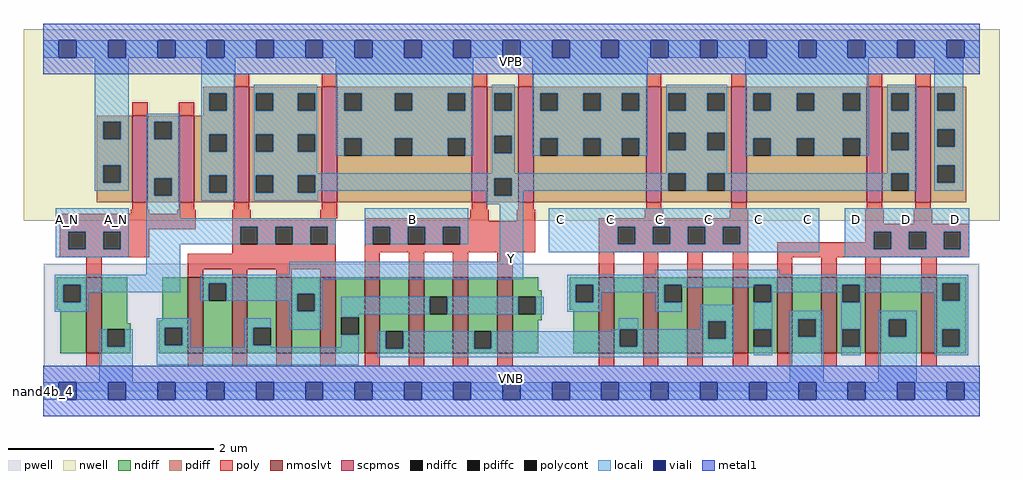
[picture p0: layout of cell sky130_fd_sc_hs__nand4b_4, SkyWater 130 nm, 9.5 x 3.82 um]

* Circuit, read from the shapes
.subckt sky130_fd_sc_hs__nand4b_4 A_N B C D VGND VNB VPB VPWR Y
XM1 VGND A_N n1 VNB sky130_fd_pr__nfet_01v8_lvt w=0.74 l=0.15
XM2 Y n1 n2 VNB sky130_fd_pr__nfet_01v8_lvt w=0.74 l=0.15 m=4
XM3 n3 B n2 VNB sky130_fd_pr__nfet_01v8_lvt w=0.74 l=0.15 m=4
XM4 n3 C n4 VNB sky130_fd_pr__nfet_01v8_lvt w=0.74 l=0.15 m=4
XM5 VGND D n4 VNB sky130_fd_pr__nfet_01v8_lvt w=0.74 l=0.15 m=4
XM6 n1 A_N VPWR VPB sky130_fd_pr__pfet_01v8 w=0.84 l=0.15 m=2
XM7 Y n1 VPWR VPB sky130_fd_pr__pfet_01v8 w=1.12 l=0.15 m=2
XM8 Y B VPWR VPB sky130_fd_pr__pfet_01v8 w=1.12 l=0.15 m=2
XM9 Y C VPWR VPB sky130_fd_pr__pfet_01v8 w=1.12 l=0.15 m=2
XM10 Y D VPWR VPB sky130_fd_pr__pfet_01v8 w=1.12 l=0.15 m=2
.ends

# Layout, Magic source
magic
tech sky130A
magscale 1 2
<< nwell >>
rect -38 332 1862 704
<< pwell >>
rect 1 49 1823 248
rect 0 0 1824 49
<< scpmos >>
rect 174 368 204 536
rect 264 368 294 536
rect 371 368 401 592
rect 543 368 573 592
rect 835 368 865 592
rect 925 368 955 592
rect 1174 368 1204 592
rect 1340 368 1370 592
rect 1604 368 1634 592
rect 1698 368 1728 592
<< nmoslvt >>
rect 84 74 114 222
rect 282 74 312 222
rect 368 74 398 222
rect 454 74 484 222
rect 540 74 570 222
rect 626 74 656 222
rect 712 74 742 222
rect 798 74 828 222
rect 884 74 914 222
rect 1082 74 1112 222
rect 1168 74 1198 222
rect 1254 74 1284 222
rect 1343 74 1373 222
rect 1429 74 1459 222
rect 1515 74 1545 222
rect 1601 74 1631 222
rect 1710 74 1740 222
<< ndiff >>
rect 27 207 84 222
rect 27 173 39 207
rect 73 173 84 207
rect 27 158 84 173
rect 34 74 84 158
rect 114 132 164 222
rect 232 138 282 222
rect 114 120 171 132
rect 114 86 125 120
rect 159 86 171 120
rect 114 74 171 86
rect 225 123 282 138
rect 225 89 237 123
rect 271 89 282 123
rect 225 74 282 89
rect 312 210 368 222
rect 312 176 323 210
rect 357 176 368 210
rect 312 74 368 176
rect 398 123 454 222
rect 398 89 409 123
rect 443 89 454 123
rect 398 74 454 89
rect 484 189 540 222
rect 484 155 495 189
rect 529 155 540 189
rect 484 74 540 155
rect 570 144 626 222
rect 570 110 581 144
rect 615 110 626 144
rect 570 74 626 110
rect 656 116 712 222
rect 656 82 667 116
rect 701 82 712 116
rect 656 74 712 82
rect 742 184 798 222
rect 742 150 753 184
rect 787 150 798 184
rect 742 74 798 150
rect 828 116 884 222
rect 828 82 839 116
rect 873 82 884 116
rect 828 74 884 82
rect 914 196 964 222
rect 1025 207 1082 222
rect 914 184 971 196
rect 914 150 925 184
rect 959 150 971 184
rect 1025 173 1037 207
rect 1071 173 1082 207
rect 1025 158 1082 173
rect 914 138 971 150
rect 914 74 964 138
rect 1032 74 1082 158
rect 1112 120 1168 222
rect 1112 86 1123 120
rect 1157 86 1168 120
rect 1112 74 1168 86
rect 1198 207 1254 222
rect 1198 173 1209 207
rect 1243 173 1254 207
rect 1198 74 1254 173
rect 1284 136 1343 222
rect 1284 102 1295 136
rect 1329 102 1343 136
rect 1284 74 1343 102
rect 1373 207 1429 222
rect 1373 173 1384 207
rect 1418 173 1429 207
rect 1373 120 1429 173
rect 1373 86 1384 120
rect 1418 86 1429 120
rect 1373 74 1429 86
rect 1459 140 1515 222
rect 1459 106 1470 140
rect 1504 106 1515 140
rect 1459 74 1515 106
rect 1545 207 1601 222
rect 1545 173 1556 207
rect 1590 173 1601 207
rect 1545 120 1601 173
rect 1545 86 1556 120
rect 1590 86 1601 120
rect 1545 74 1601 86
rect 1631 140 1710 222
rect 1631 106 1646 140
rect 1680 106 1710 140
rect 1631 74 1710 106
rect 1740 210 1797 222
rect 1740 176 1751 210
rect 1785 176 1797 210
rect 1740 120 1797 176
rect 1740 86 1751 120
rect 1785 86 1797 120
rect 1740 74 1797 86
<< pdiff >>
rect 312 580 371 592
rect 312 546 324 580
rect 358 546 371 580
rect 312 536 371 546
rect 105 524 174 536
rect 105 490 117 524
rect 151 490 174 524
rect 105 440 174 490
rect 105 406 117 440
rect 151 406 174 440
rect 105 368 174 406
rect 204 524 264 536
rect 204 490 217 524
rect 251 490 264 524
rect 204 414 264 490
rect 204 380 217 414
rect 251 380 264 414
rect 204 368 264 380
rect 294 500 371 536
rect 294 466 324 500
rect 358 466 371 500
rect 294 420 371 466
rect 294 386 324 420
rect 358 386 371 420
rect 294 368 371 386
rect 401 580 543 592
rect 401 546 414 580
rect 448 546 496 580
rect 530 546 543 580
rect 401 500 543 546
rect 401 466 414 500
rect 448 466 496 500
rect 530 466 543 500
rect 401 420 543 466
rect 401 386 414 420
rect 448 386 496 420
rect 530 386 543 420
rect 401 368 543 386
rect 573 580 835 592
rect 573 546 586 580
rect 620 546 685 580
rect 719 546 788 580
rect 822 546 835 580
rect 573 492 835 546
rect 573 458 586 492
rect 620 458 685 492
rect 719 458 788 492
rect 822 458 835 492
rect 573 368 835 458
rect 865 580 925 592
rect 865 546 878 580
rect 912 546 925 580
rect 865 497 925 546
rect 865 463 878 497
rect 912 463 925 497
rect 865 414 925 463
rect 865 380 878 414
rect 912 380 925 414
rect 865 368 925 380
rect 955 580 1174 592
rect 955 546 968 580
rect 1002 546 1052 580
rect 1086 546 1127 580
rect 1161 546 1174 580
rect 955 492 1174 546
rect 955 458 968 492
rect 1002 458 1052 492
rect 1086 458 1127 492
rect 1161 458 1174 492
rect 955 368 1174 458
rect 1204 580 1340 592
rect 1204 546 1217 580
rect 1251 546 1293 580
rect 1327 546 1340 580
rect 1204 503 1340 546
rect 1204 469 1217 503
rect 1251 469 1293 503
rect 1327 469 1340 503
rect 1204 424 1340 469
rect 1204 390 1217 424
rect 1251 390 1293 424
rect 1327 390 1340 424
rect 1204 368 1340 390
rect 1370 580 1604 592
rect 1370 546 1383 580
rect 1417 546 1467 580
rect 1501 546 1557 580
rect 1591 546 1604 580
rect 1370 492 1604 546
rect 1370 458 1383 492
rect 1417 458 1467 492
rect 1501 458 1557 492
rect 1591 458 1604 492
rect 1370 368 1604 458
rect 1634 580 1698 592
rect 1634 546 1651 580
rect 1685 546 1698 580
rect 1634 503 1698 546
rect 1634 469 1651 503
rect 1685 469 1698 503
rect 1634 424 1698 469
rect 1634 390 1651 424
rect 1685 390 1698 424
rect 1634 368 1698 390
rect 1728 580 1797 592
rect 1728 546 1741 580
rect 1775 546 1797 580
rect 1728 510 1797 546
rect 1728 476 1741 510
rect 1775 476 1797 510
rect 1728 440 1797 476
rect 1728 406 1741 440
rect 1775 406 1797 440
rect 1728 368 1797 406
<< ndiffc >>
rect 39 173 73 207
rect 125 86 159 120
rect 237 89 271 123
rect 323 176 357 210
rect 409 89 443 123
rect 495 155 529 189
rect 581 110 615 144
rect 667 82 701 116
rect 753 150 787 184
rect 839 82 873 116
rect 925 150 959 184
rect 1037 173 1071 207
rect 1123 86 1157 120
rect 1209 173 1243 207
rect 1295 102 1329 136
rect 1384 173 1418 207
rect 1384 86 1418 120
rect 1470 106 1504 140
rect 1556 173 1590 207
rect 1556 86 1590 120
rect 1646 106 1680 140
rect 1751 176 1785 210
rect 1751 86 1785 120
<< pdiffc >>
rect 324 546 358 580
rect 117 490 151 524
rect 117 406 151 440
rect 217 490 251 524
rect 217 380 251 414
rect 324 466 358 500
rect 324 386 358 420
rect 414 546 448 580
rect 496 546 530 580
rect 414 466 448 500
rect 496 466 530 500
rect 414 386 448 420
rect 496 386 530 420
rect 586 546 620 580
rect 685 546 719 580
rect 788 546 822 580
rect 586 458 620 492
rect 685 458 719 492
rect 788 458 822 492
rect 878 546 912 580
rect 878 463 912 497
rect 878 380 912 414
rect 968 546 1002 580
rect 1052 546 1086 580
rect 1127 546 1161 580
rect 968 458 1002 492
rect 1052 458 1086 492
rect 1127 458 1161 492
rect 1217 546 1251 580
rect 1293 546 1327 580
rect 1217 469 1251 503
rect 1293 469 1327 503
rect 1217 390 1251 424
rect 1293 390 1327 424
rect 1383 546 1417 580
rect 1467 546 1501 580
rect 1557 546 1591 580
rect 1383 458 1417 492
rect 1467 458 1501 492
rect 1557 458 1591 492
rect 1651 546 1685 580
rect 1651 469 1685 503
rect 1651 390 1685 424
rect 1741 546 1775 580
rect 1741 476 1775 510
rect 1741 406 1775 440
<< poly >>
rect 371 592 401 618
rect 543 592 573 618
rect 835 592 865 618
rect 925 592 955 618
rect 1174 592 1204 618
rect 1340 592 1370 618
rect 1604 592 1634 618
rect 1698 592 1728 618
rect 174 536 204 562
rect 264 536 294 562
rect 174 353 204 368
rect 264 353 294 368
rect 371 353 401 368
rect 543 353 573 368
rect 835 353 865 368
rect 925 353 955 368
rect 1174 353 1204 368
rect 1340 353 1370 368
rect 1604 353 1634 368
rect 1698 353 1728 368
rect 171 345 207 353
rect 261 345 297 353
rect 33 315 297 345
rect 368 336 404 353
rect 540 336 573 353
rect 832 336 868 353
rect 368 320 570 336
rect 33 310 207 315
rect 33 276 49 310
rect 83 276 117 310
rect 151 276 207 310
rect 33 260 207 276
rect 368 286 384 320
rect 418 286 452 320
rect 486 286 520 320
rect 554 286 570 320
rect 368 267 570 286
rect 84 222 114 260
rect 282 237 570 267
rect 282 222 312 237
rect 368 222 398 237
rect 454 222 484 237
rect 540 222 570 237
rect 626 331 868 336
rect 922 331 958 353
rect 1171 336 1207 353
rect 1337 336 1373 353
rect 626 320 958 331
rect 626 286 642 320
rect 676 286 710 320
rect 744 286 778 320
rect 812 286 958 320
rect 626 270 958 286
rect 1082 320 1373 336
rect 1082 286 1119 320
rect 1153 286 1187 320
rect 1221 286 1255 320
rect 1289 286 1323 320
rect 1357 286 1373 320
rect 1601 326 1637 353
rect 1695 326 1731 353
rect 1601 310 1803 326
rect 1601 290 1617 310
rect 1082 270 1373 286
rect 626 222 656 270
rect 712 222 742 270
rect 798 222 828 270
rect 884 222 914 270
rect 1082 222 1112 270
rect 1168 222 1198 270
rect 1254 222 1284 270
rect 1343 222 1373 270
rect 1429 276 1617 290
rect 1651 276 1685 310
rect 1719 276 1753 310
rect 1787 276 1803 310
rect 1429 260 1803 276
rect 1429 222 1459 260
rect 1515 222 1545 260
rect 1601 222 1631 260
rect 1710 222 1740 260
rect 84 48 114 74
rect 282 48 312 74
rect 368 48 398 74
rect 454 48 484 74
rect 540 48 570 74
rect 626 48 656 74
rect 712 48 742 74
rect 798 48 828 74
rect 884 48 914 74
rect 1082 48 1112 74
rect 1168 48 1198 74
rect 1254 48 1284 74
rect 1343 48 1373 74
rect 1429 48 1459 74
rect 1515 48 1545 74
rect 1601 48 1631 74
rect 1710 48 1740 74
<< polycont >>
rect 49 276 83 310
rect 117 276 151 310
rect 384 286 418 320
rect 452 286 486 320
rect 520 286 554 320
rect 642 286 676 320
rect 710 286 744 320
rect 778 286 812 320
rect 1119 286 1153 320
rect 1187 286 1221 320
rect 1255 286 1289 320
rect 1323 286 1357 320
rect 1617 276 1651 310
rect 1685 276 1719 310
rect 1753 276 1787 310
<< locali >>
rect 0 649 31 683
rect 65 649 127 683
rect 161 649 223 683
rect 257 649 319 683
rect 353 649 415 683
rect 449 649 511 683
rect 545 649 607 683
rect 641 649 703 683
rect 737 649 799 683
rect 833 649 895 683
rect 929 649 991 683
rect 1025 649 1087 683
rect 1121 649 1183 683
rect 1217 649 1279 683
rect 1313 649 1375 683
rect 1409 649 1471 683
rect 1505 649 1567 683
rect 1601 649 1663 683
rect 1697 649 1759 683
rect 1793 649 1824 683
rect 101 524 167 649
rect 308 580 374 649
rect 308 546 324 580
rect 358 546 374 580
rect 101 490 117 524
rect 151 490 167 524
rect 101 440 167 490
rect 101 406 117 440
rect 151 406 167 440
rect 101 390 167 406
rect 201 524 267 540
rect 201 490 217 524
rect 251 490 267 524
rect 201 414 267 490
rect 201 380 217 414
rect 251 380 267 414
rect 25 310 167 356
rect 25 276 49 310
rect 83 276 117 310
rect 151 276 167 310
rect 25 260 167 276
rect 201 336 267 380
rect 308 500 374 546
rect 308 466 324 500
rect 358 466 374 500
rect 308 420 374 466
rect 308 386 324 420
rect 358 386 374 420
rect 308 370 374 386
rect 410 580 534 596
rect 410 546 414 580
rect 448 546 496 580
rect 530 546 534 580
rect 410 500 534 546
rect 410 466 414 500
rect 448 466 496 500
rect 530 466 534 500
rect 410 424 534 466
rect 570 580 838 649
rect 570 546 586 580
rect 620 546 685 580
rect 719 546 788 580
rect 822 546 838 580
rect 570 492 838 546
rect 570 458 586 492
rect 620 458 685 492
rect 719 458 788 492
rect 822 458 838 492
rect 874 580 918 596
rect 874 546 878 580
rect 912 546 918 580
rect 874 497 918 546
rect 874 463 878 497
rect 912 463 918 497
rect 874 424 918 463
rect 952 580 1177 649
rect 952 546 968 580
rect 1002 546 1052 580
rect 1086 546 1127 580
rect 1161 546 1177 580
rect 952 492 1177 546
rect 952 458 968 492
rect 1002 458 1052 492
rect 1086 458 1127 492
rect 1161 458 1177 492
rect 1213 580 1332 596
rect 1213 546 1217 580
rect 1251 546 1293 580
rect 1327 546 1332 580
rect 1213 503 1332 546
rect 1213 469 1217 503
rect 1251 469 1293 503
rect 1327 469 1332 503
rect 1213 424 1332 469
rect 1367 580 1607 649
rect 1367 546 1383 580
rect 1417 546 1467 580
rect 1501 546 1557 580
rect 1591 546 1607 580
rect 1367 492 1607 546
rect 1367 458 1383 492
rect 1417 458 1467 492
rect 1501 458 1557 492
rect 1591 458 1607 492
rect 1643 580 1701 596
rect 1643 546 1651 580
rect 1685 546 1701 580
rect 1643 503 1701 546
rect 1643 469 1651 503
rect 1685 469 1701 503
rect 1643 424 1701 469
rect 410 420 1217 424
rect 410 386 414 420
rect 448 386 496 420
rect 530 414 1217 420
rect 530 390 878 414
rect 530 386 536 390
rect 410 370 536 386
rect 862 380 878 390
rect 912 390 1217 414
rect 1251 390 1293 424
rect 1327 390 1651 424
rect 1685 390 1701 424
rect 1735 580 1791 649
rect 1735 546 1741 580
rect 1775 546 1791 580
rect 1735 510 1791 546
rect 1735 476 1741 510
rect 1775 476 1791 510
rect 1735 440 1791 476
rect 1735 406 1741 440
rect 1775 406 1791 440
rect 1735 390 1791 406
rect 912 380 935 390
rect 862 364 935 380
rect 201 320 570 336
rect 201 286 384 320
rect 418 286 452 320
rect 486 286 520 320
rect 554 286 570 320
rect 626 320 828 356
rect 626 286 642 320
rect 676 286 710 320
rect 744 286 778 320
rect 812 286 828 320
rect 201 226 267 286
rect 889 252 935 364
rect 985 320 1511 356
rect 985 286 1119 320
rect 1153 286 1187 320
rect 1221 286 1255 320
rect 1289 286 1323 320
rect 1357 286 1511 320
rect 985 270 1511 286
rect 1561 310 1803 356
rect 1561 276 1617 310
rect 1651 276 1685 310
rect 1719 276 1753 310
rect 1787 276 1803 310
rect 1561 260 1803 276
rect 479 226 935 252
rect 1193 226 1434 236
rect 23 207 267 226
rect 23 173 39 207
rect 73 192 267 207
rect 307 218 935 226
rect 307 210 545 218
rect 73 173 89 192
rect 307 176 323 210
rect 357 189 545 210
rect 357 176 495 189
rect 23 154 89 173
rect 479 155 495 176
rect 529 155 545 189
rect 1021 210 1801 226
rect 1021 207 1751 210
rect 221 123 287 142
rect 109 86 125 120
rect 159 86 175 120
rect 109 17 175 86
rect 221 89 237 123
rect 271 89 287 123
rect 221 85 287 89
rect 393 123 443 142
rect 393 89 409 123
rect 479 119 545 155
rect 581 150 753 184
rect 787 150 925 184
rect 959 150 975 184
rect 1021 173 1037 207
rect 1071 192 1209 207
rect 1071 173 1087 192
rect 1021 154 1087 173
rect 1193 173 1209 192
rect 1243 202 1384 207
rect 1193 154 1243 173
rect 1418 192 1556 207
rect 1418 173 1420 192
rect 581 144 615 150
rect 393 85 443 89
rect 1121 120 1159 142
rect 1279 136 1345 168
rect 1279 120 1295 136
rect 1107 116 1123 120
rect 581 85 615 110
rect 221 51 615 85
rect 651 82 667 116
rect 701 82 839 116
rect 873 86 1123 116
rect 1157 102 1295 120
rect 1329 102 1345 136
rect 1157 86 1345 102
rect 873 82 1345 86
rect 651 66 1345 82
rect 1384 120 1420 173
rect 1554 173 1556 192
rect 1590 192 1751 207
rect 1590 173 1592 192
rect 1418 86 1420 120
rect 1384 70 1420 86
rect 1454 140 1520 156
rect 1454 106 1470 140
rect 1504 106 1520 140
rect 1454 17 1520 106
rect 1554 120 1592 173
rect 1735 176 1751 192
rect 1785 176 1801 210
rect 1554 86 1556 120
rect 1590 86 1592 120
rect 1554 70 1592 86
rect 1626 140 1701 156
rect 1626 106 1646 140
rect 1680 106 1701 140
rect 1626 17 1701 106
rect 1735 120 1801 176
rect 1735 86 1751 120
rect 1785 86 1801 120
rect 1735 70 1801 86
rect 0 -17 31 17
rect 65 -17 127 17
rect 161 -17 223 17
rect 257 -17 319 17
rect 353 -17 415 17
rect 449 -17 511 17
rect 545 -17 607 17
rect 641 -17 703 17
rect 737 -17 799 17
rect 833 -17 895 17
rect 929 -17 991 17
rect 1025 -17 1087 17
rect 1121 -17 1183 17
rect 1217 -17 1279 17
rect 1313 -17 1375 17
rect 1409 -17 1471 17
rect 1505 -17 1567 17
rect 1601 -17 1663 17
rect 1697 -17 1759 17
rect 1793 -17 1824 17
<< viali >>
rect 31 649 65 683
rect 127 649 161 683
rect 223 649 257 683
rect 319 649 353 683
rect 415 649 449 683
rect 511 649 545 683
rect 607 649 641 683
rect 703 649 737 683
rect 799 649 833 683
rect 895 649 929 683
rect 991 649 1025 683
rect 1087 649 1121 683
rect 1183 649 1217 683
rect 1279 649 1313 683
rect 1375 649 1409 683
rect 1471 649 1505 683
rect 1567 649 1601 683
rect 1663 649 1697 683
rect 1759 649 1793 683
rect 31 -17 65 17
rect 127 -17 161 17
rect 223 -17 257 17
rect 319 -17 353 17
rect 415 -17 449 17
rect 511 -17 545 17
rect 607 -17 641 17
rect 703 -17 737 17
rect 799 -17 833 17
rect 895 -17 929 17
rect 991 -17 1025 17
rect 1087 -17 1121 17
rect 1183 -17 1217 17
rect 1279 -17 1313 17
rect 1375 -17 1409 17
rect 1471 -17 1505 17
rect 1567 -17 1601 17
rect 1663 -17 1697 17
rect 1759 -17 1793 17
<< metal1 >>
rect 0 683 1824 715
rect 0 649 31 683
rect 65 649 127 683
rect 161 649 223 683
rect 257 649 319 683
rect 353 649 415 683
rect 449 649 511 683
rect 545 649 607 683
rect 641 649 703 683
rect 737 649 799 683
rect 833 649 895 683
rect 929 649 991 683
rect 1025 649 1087 683
rect 1121 649 1183 683
rect 1217 649 1279 683
rect 1313 649 1375 683
rect 1409 649 1471 683
rect 1505 649 1567 683
rect 1601 649 1663 683
rect 1697 649 1759 683
rect 1793 649 1824 683
rect 0 617 1824 649
rect 0 17 1824 49
rect 0 -17 31 17
rect 65 -17 127 17
rect 161 -17 223 17
rect 257 -17 319 17
rect 353 -17 415 17
rect 449 -17 511 17
rect 545 -17 607 17
rect 641 -17 703 17
rect 737 -17 799 17
rect 833 -17 895 17
rect 929 -17 991 17
rect 1025 -17 1087 17
rect 1121 -17 1183 17
rect 1217 -17 1279 17
rect 1313 -17 1375 17
rect 1409 -17 1471 17
rect 1505 -17 1567 17
rect 1601 -17 1663 17
rect 1697 -17 1759 17
rect 1793 -17 1824 17
rect 0 -49 1824 -17
<< labels >>
rlabel comment s 0 0 0 0 4 nand4b_4
flabel pwell s 0 0 1824 49 0 FreeSans 200 0 0 0 VNB
port 6 nsew ground bidirectional
flabel nwell s 0 617 1824 666 0 FreeSans 200 0 0 0 VPB
port 7 nsew power bidirectional
flabel metal1 s 0 617 1824 666 0 FreeSans 340 0 0 0 VPWR
port 8 nsew power bidirectional
flabel metal1 s 0 0 1824 49 0 FreeSans 340 0 0 0 VGND
port 5 nsew ground bidirectional
flabel locali s 31 316 65 350 0 FreeSans 340 0 0 0 A_N
port 1 nsew signal input
flabel locali s 127 316 161 350 0 FreeSans 340 0 0 0 A_N
port 1 nsew signal input
flabel locali s 991 316 1025 350 0 FreeSans 340 0 0 0 C
port 3 nsew signal input
flabel locali s 1087 316 1121 350 0 FreeSans 340 0 0 0 C
port 3 nsew signal input
flabel locali s 1183 316 1217 350 0 FreeSans 340 0 0 0 C
port 3 nsew signal input
flabel locali s 1279 316 1313 350 0 FreeSans 340 0 0 0 C
port 3 nsew signal input
flabel locali s 1375 316 1409 350 0 FreeSans 340 0 0 0 C
port 3 nsew signal input
flabel locali s 1471 316 1505 350 0 FreeSans 340 0 0 0 C
port 3 nsew signal input
flabel locali s 703 316 737 350 0 FreeSans 340 0 0 0 B
port 2 nsew signal input
flabel locali s 895 242 929 276 0 FreeSans 340 0 0 0 Y
port 9 nsew signal output
flabel locali s 1567 316 1601 350 0 FreeSans 340 0 0 0 D
port 4 nsew signal input
flabel locali s 1663 316 1697 350 0 FreeSans 340 0 0 0 D
port 4 nsew signal input
flabel locali s 1759 316 1793 350 0 FreeSans 340 0 0 0 D
port 4 nsew signal input
<< properties >>
string LEFsite unit
string LEFclass CORE
string FIXED_BBOX 0 0 1824 666
string GDS_FILE $PDKPATH/libs.ref/sky130_fd_sc_hs/gds/sky130_fd_sc_hs.gds
string LEFsymmetry X Y
string GDS_END 794598
string GDS_START 780590
<< end >>
